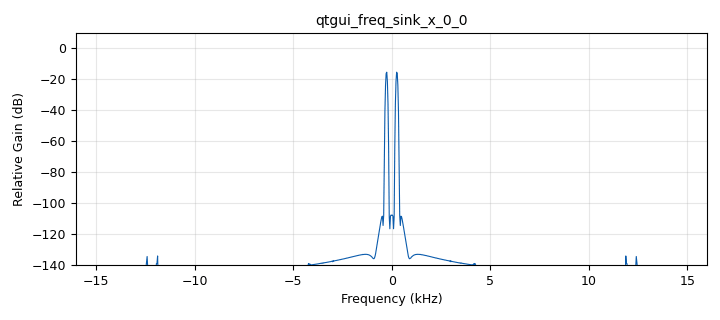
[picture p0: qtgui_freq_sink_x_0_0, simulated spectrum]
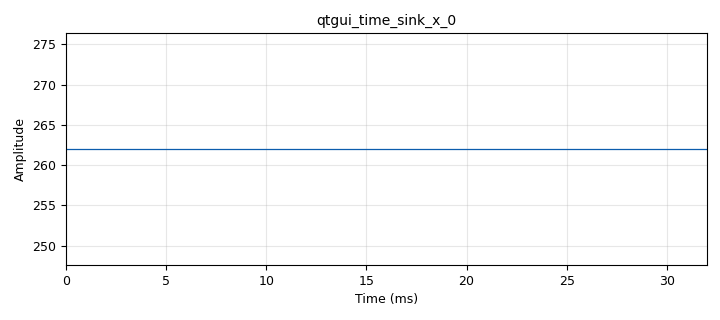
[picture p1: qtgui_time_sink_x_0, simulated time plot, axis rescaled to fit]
options:
  parameters:
    generate_options: qt_gui
    id: Lab1_1
    output_language: python
    title: Piano Notes
  states: {}

blocks:
- name: samp_rate
  id: variable
  parameters:
    value: '32000'
  states: {}
- name: audio_sink_0
  id: audio_sink
  parameters:
    samp_rate: samp_rate
  states: {}
- name: blocks_repeat_0
  id: blocks_repeat
  parameters:
    interp: samp_rate//2
    type: float
  states: {}
- name: blocks_vco_f_0
  id: blocks_vco_f
  parameters:
    amplitude: '1'
    samp_rate: samp_rate
    sensitivity: '6.28'
  states: {}
- name: blocks_vector_source_x_0
  id: blocks_vector_source_x
  parameters:
    repeat: 'True'
    type: float
    vector: (262, 262, 294, 262, 349, 330, 262, 262, 294, 262, 392, 349, 262, 262,  523, 220, 392, 349, 330, 466, 466, 440, 349, 392, 349)
  states: {}
- name: qtgui_freq_sink_x_0_0
  id: qtgui_freq_sink_x
  parameters:
    bw: samp_rate
    fc: '0'
    fftsize: '1024'
    type: float
  states: {}
- name: qtgui_time_sink_x_0
  id: qtgui_time_sink_x
  parameters:
    size: '1024'
    srate: samp_rate
    type: float
  states: {}

connections:
- [blocks_repeat_0, '0', blocks_vco_f_0, '0']
- [blocks_repeat_0, '0', qtgui_time_sink_x_0, '0']
- [blocks_vco_f_0, '0', audio_sink_0, '0']
- [blocks_vco_f_0, '0', qtgui_freq_sink_x_0_0, '0']
- [blocks_vector_source_x_0, '0', blocks_repeat_0, '0']

metadata:
  file_format: 1
  grc_version: 3.9.8.0-rc1
